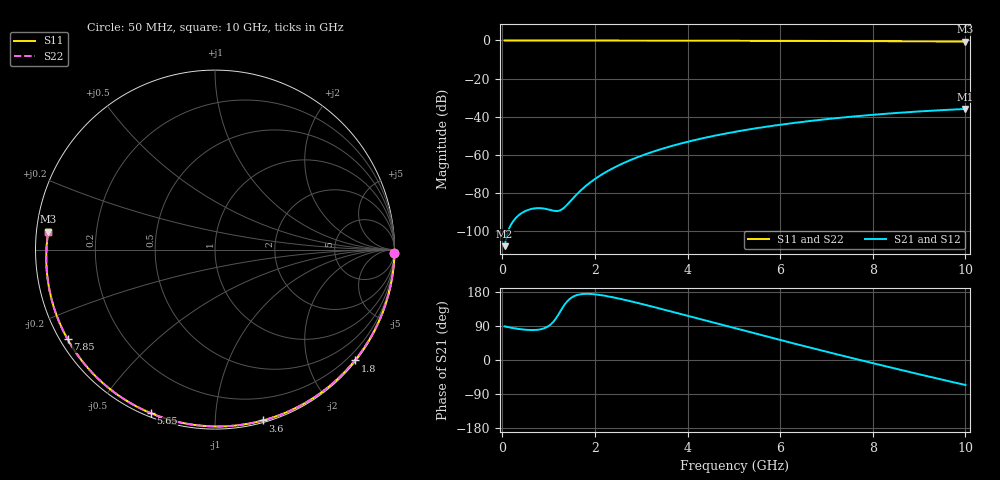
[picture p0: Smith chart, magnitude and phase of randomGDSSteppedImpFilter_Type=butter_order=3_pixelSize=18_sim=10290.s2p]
! freq	dB(S11)	phase(S11)	dB(S12)	phase(S12)
!  dB(S21)	phase(S21)	dB(S22)	phase(S22)
!S-par simulation data
#  GHz  S  DB  R 50
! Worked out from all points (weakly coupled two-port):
!   200 points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, 50 MHz to 10 GHz, reference 50 ohm
!   highest |S21| = -35.88 dB at 10 GHz (marker M1); lowest = -107.7 dB at 50 MHz (marker M2)
!   lowest |S11| = -0.6 dB at 10 GHz (marker M3), VSWR 29.53, Z = 1.7 + j2.66 ohm
!   |S11| at or under -10 dB: nowhere
!   |S22| runs from -0.6 to 0.0 dB; largest |S21 - S12| = 0
!   S11 on the Smith chart (normalised r, x): 50 MHz: open; 1.8 GHz: 0.03, -2.87; 3.6 GHz: 0.02, -1.32; 5.65 GHz: 0.02, -0.68; 7.85 GHz: 0.02, -0.28; 10 GHz: 0.03, +0.05
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0.05  -0.00 -1.1  -107.72 88.7  -107.72 88.7  -0.00 -1.1
0.4  -0.01 -8.7  -90.69 81.2  -90.69 81.2  -0.01 -8.7
0.8  -0.02 -17.3  -87.81 80.4  -87.81 80.4  -0.02 -17.3
1.6  -0.04 -34.2  -80.77 170.8  -80.77 170.8  -0.04 -34.2
1.65  -0.04 -35.3  -79.56 172.5  -79.56 172.5  -0.04 -35.3
1.75  -0.05 -37.4  -77.31 174.3  -77.31 174.3  -0.05 -37.4
1.8  -0.05 -38.4  -76.27 174.6  -76.27 174.6  -0.05 -38.4
2.1  -0.06 -44.6  -70.94 171.8  -70.94 171.8  -0.06 -44.6
2.45  -0.07 -51.7  -66.15 163.9  -66.15 163.9  -0.07 -51.7
2.9  -0.08 -60.7  -61.33 151.2  -61.33 151.2  -0.08 -60.7
3.4  -0.09 -70.4  -57.11 135.8  -57.11 135.8  -0.09 -70.4
3.6  -0.10 -74.3  -55.66 129.5  -55.66 129.5  -0.10 -74.3
4.3  -0.12 -87.4  -51.36 107.0  -51.36 107.0  -0.12 -87.4
5.05  -0.15 -100.9  -47.73 82.9  -47.73 82.9  -0.15 -100.9
5.65  -0.18 -111.5  -45.36 63.8  -45.36 63.8  -0.18 -111.5
6.15  -0.21 -120.1  -43.65 48.1  -43.65 48.1  -0.21 -120.1
6.7  -0.25 -129.4  -42.01 31.0  -42.01 31.0  -0.25 -129.4
7.3  -0.30 -139.5  -40.46 12.7  -40.46 12.7  -0.30 -139.5
7.85  -0.34 -148.7  -39.24 -3.8  -39.24 -3.8  -0.34 -148.7
8.35  -0.39 -157.2  -38.26 -18.7  -38.26 -18.7  -0.39 -157.2
9.2  -0.49 -171.8  -36.88 -43.4  -36.88 -43.4  -0.49 -171.8
10  -0.59 173.9  -35.88 -65.9  -35.88 -65.9  -0.59 173.9
